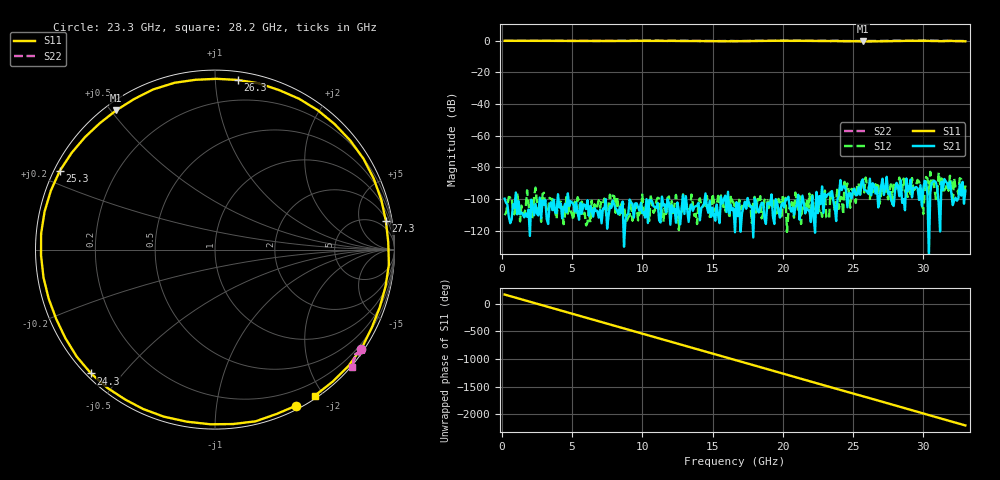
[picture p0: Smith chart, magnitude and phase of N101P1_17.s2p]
# GHZ S RI R 50
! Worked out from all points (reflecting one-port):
!   329 points, 200 MHz to 33 GHz, reference 50 ohm
!   lowest |S11| = -0.4 dB at 25.7 GHz (marker M1), VSWR 40.04, Z = 1.58 + j25.8 ohm
!   phase of S11 starts at 165 deg and turns -2369 deg over the sweep
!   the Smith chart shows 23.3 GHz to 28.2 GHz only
!   S11 on the Smith chart (normalised r, x): 23.3 GHz: 0.04, -1.65; 24.3 GHz: 0.01, -0.41; 25.3 GHz: 0.02, +0.24; 26.3 GHz: 0.05, +1.14; 27.3 GHz: 2, +11; 28.2 GHz: 0.03, -1.90
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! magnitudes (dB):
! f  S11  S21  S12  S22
! 200 MHz  0.0  -99.7  -110.1  0.0
! 5.7 GHz  -0.1  -109.2  -101.6  -0.1
! 11.2 GHz  -0.1  -113.5  -99.7  0.1
! 16.6 GHz  -0.3  -121.0  -105.1  -0.2
! 19.5 GHz  0.0  -100.1  -109.1  0.0
! 22.1 GHz  -0.1  -98.1  -97.5  0.0
! 22.9 GHz  -0.1  -108.8  -101.6  0.0
! 23.3 GHz  -0.2  -96.5  -112.0  -0.1
! 23.9 GHz  -0.2  -100.1  -92.9  0.1
! 24.3 GHz  -0.2  -92.1  -109.7  -0.2
! 25.3 GHz  -0.3  -97.4  -90.6  -0.2
! 25.7 GHz  -0.4  -87.5  -89.0  -0.2
! 26.3 GHz  -0.4  -97.6  -92.3  -0.1
! 27.3 GHz  -0.3  -92.6  -92.3  -0.1
! 27.6 GHz  -0.2  -95.1  -94.9  0.0
! 28.2 GHz  -0.1  -92.0  -90.8  0.0
! 29.7 GHz  0.0  -100.6  -89.0  0.1
! 30.3 GHz  0.0  -97.2  -86.8  0.2
! 31.3 GHz  -0.2  -89.0  -87.0  -0.1
! 31.9 GHz  0.0  -89.0  -85.3  0.0
! 32.2 GHz  -0.2  -101.1  -86.9  -0.1
! 33 GHz  -0.3  -94.7  -91.4  -0.1
